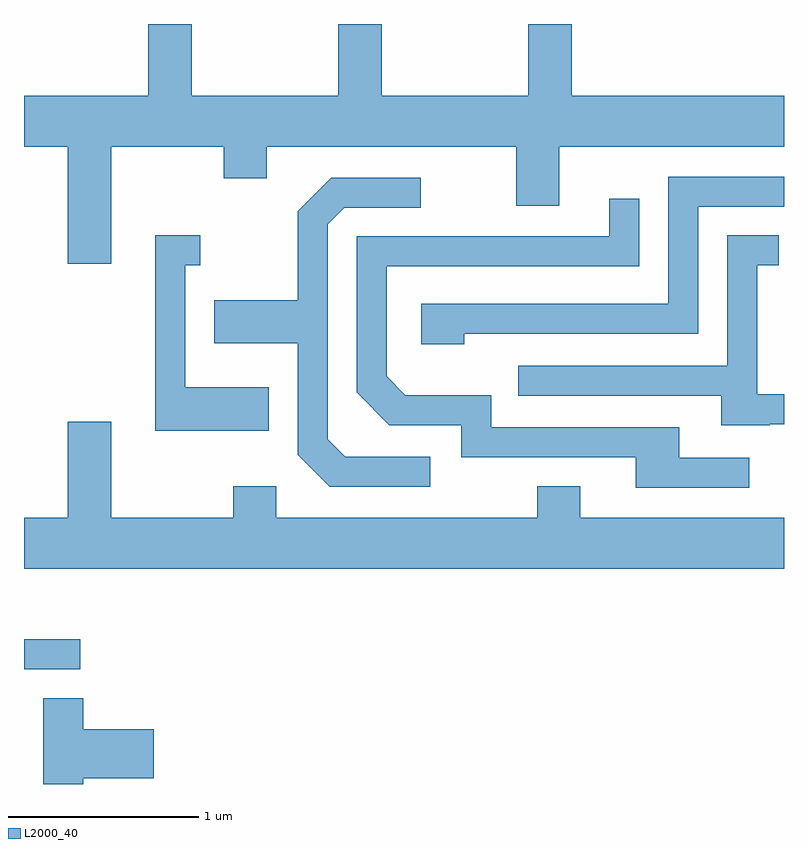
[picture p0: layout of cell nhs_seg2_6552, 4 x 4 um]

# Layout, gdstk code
import gdstk
lib = gdstk.Library(unit=1e-6, precision=1e-09)
def R(c, l, rs):  # rectangles x0, y0, x1, y1
    for r in rs: c.add(gdstk.rectangle(r[:2], r[2:], *l))
def P(c, l, *ps):  # polygons
    for p in ps: c.add(gdstk.Polygon(p, *l))
L2000_40 = (2000, 40)

nhs_seg2_6552 = lib.new_cell('nhs_seg2_6552')
R(nhs_seg2_6552, L2000_40, [(377.611,1094.406,377.908,1094.564)])
P(nhs_seg2_6552, L2000_40, [(378.069,1097.156),(378.661,1097.156),(378.661,1096.991),(378.889,1096.991),(378.889,1097.156),(380.201,1097.156),(380.201,1096.846),(380.429,1096.846),(380.429,1097.156),(381.611,1097.156),(381.611,1097.424),(380.494,1097.424),(380.494,1097.802),(380.266,1097.802),(380.266,1097.424),(379.494,1097.424),(379.494,1097.802),(379.266,1097.802),(379.266,1097.424),(378.494,1097.424),(378.494,1097.802),(378.266,1097.802),(378.266,1097.424),(377.611,1097.424),(377.611,1097.156),(377.841,1097.156),(377.841,1096.541),(378.069,1096.541)],
  [(379.929,1096.171),(381.159,1096.171),(381.159,1096.841),(381.611,1096.841),(381.611,1096.999),(381.001,1096.999),(381.001,1096.329),(379.701,1096.329),(379.701,1096.116),(379.929,1096.116)],
  [(379.748,1095.524),(379.302,1095.524),(379.209,1095.617),(379.209,1096.749),(379.297,1096.836),(379.698,1096.836),(379.698,1096.994),(379.229,1096.994),(379.051,1096.817),(379.051,1096.349),(378.611,1096.349),(378.611,1096.121),(379.051,1096.121),(379.051,1095.534),(379.219,1095.366),(379.748,1095.366)],
  [(381.428,1095.519),(381.059,1095.519),(381.059,1095.679),(380.069,1095.679),(380.069,1095.849),(379.617,1095.849),(379.519,1095.947),(379.519,1096.526),(380.849,1096.526),(380.849,1096.883),(380.691,1096.883),(380.691,1096.684),(379.361,1096.684),(379.361,1095.864),(379.534,1095.691),(379.911,1095.691),(379.911,1095.521),(380.831,1095.521),(380.831,1095.361),(381.428,1095.361)],
  [(381.535,1095.696),(381.611,1095.696),(381.611,1095.854),(381.469,1095.854),(381.469,1096.531),(381.583,1096.531),(381.583,1096.689),(381.311,1096.689),(381.311,1096.004),(380.213,1096.004),(380.213,1095.846),(381.281,1095.846),(381.281,1095.691),(381.535,1095.691)],
  [(378.899,1095.889),(378.459,1095.889),(378.459,1096.531),(378.538,1096.531),(378.538,1096.689),(378.301,1096.689),(378.301,1095.661),(378.899,1095.661)],
  [(381.611,1095.204),(380.539,1095.204),(380.539,1095.369),(380.311,1095.369),(380.311,1095.204),(378.939,1095.204),(378.939,1095.369),(378.711,1095.369),(378.711,1095.204),(378.069,1095.204),(378.069,1095.709),(377.841,1095.709),(377.841,1095.204),(377.611,1095.204),(377.611,1094.936),(381.611,1094.936)],
  [(377.924,1093.831),(378.294,1093.831),(378.294,1094.089),(377.924,1094.089),(377.924,1094.254),(377.711,1094.254),(377.711,1093.802),(377.924,1093.802)])

lib.write_gds('nhs_seg2_6552.gds')
